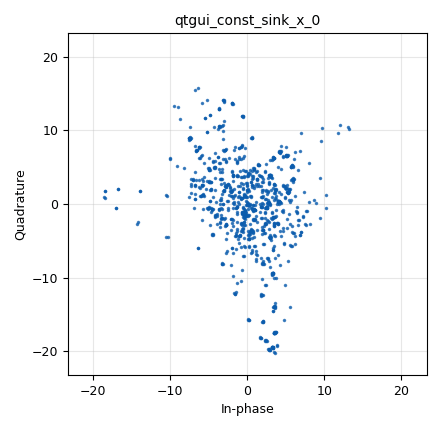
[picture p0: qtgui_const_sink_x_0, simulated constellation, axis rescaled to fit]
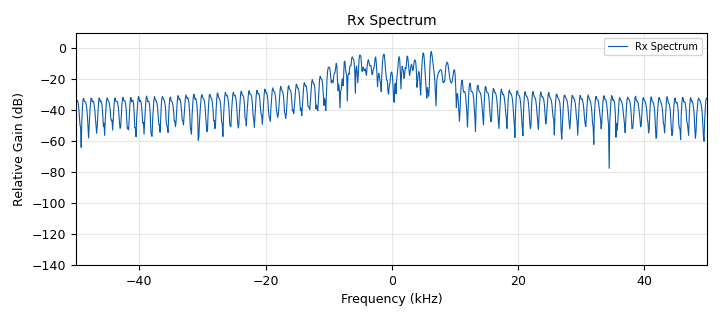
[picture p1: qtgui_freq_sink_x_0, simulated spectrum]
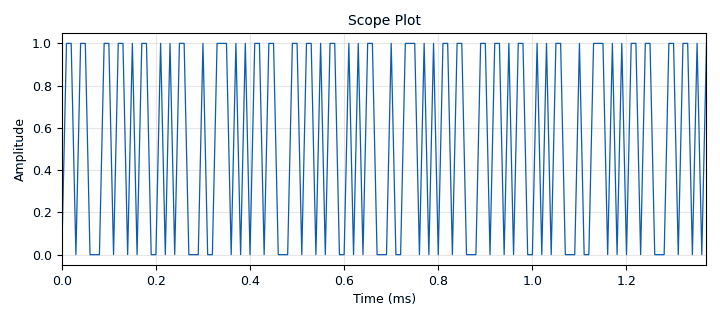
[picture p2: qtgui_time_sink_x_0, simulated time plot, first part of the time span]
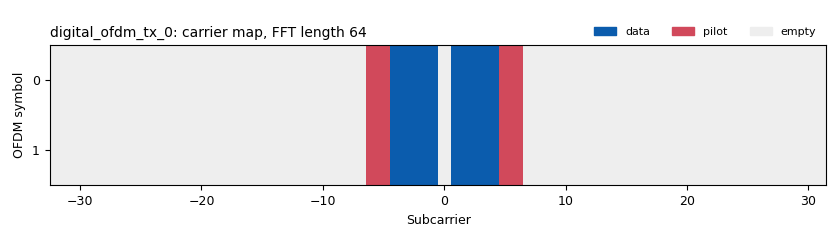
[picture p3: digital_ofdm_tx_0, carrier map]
options:
  parameters:
    category: Custom
    description: Transmit a pre-defined signal (a complex sine) as OFDM packets.
    generate_options: qt_gui
    id: ofdm_loopback_example
    output_language: python
    title: OFDM Loopback Example
  states: {}

blocks:
- name: fft_len
  id: variable
  parameters:
    value: '64'
  states: {}
- name: freq_offset
  id: variable_qtgui_range
  parameters:
    label: Frequency Offset (Multiples of Sub-carrier spacing)
    start: '-3'
    step: '.01'
    stop: '3'
    value: '0'
  states: {}
- name: len_tag_key
  id: variable
  parameters:
    value: '"packet_len"'
  states: {}
- name: noise_voltage
  id: variable_qtgui_range
  parameters:
    label: Noise Amplitude
    start: '0'
    step: '.01'
    stop: '1'
    value: '0.1'
  states: {}
- name: packet_len
  id: variable
  parameters:
    value: '50'
  states: {}
- name: samp_rate
  id: variable
  parameters:
    value: '100000'
  states: {}
- name: blocks_file_sink_0
  id: blocks_file_sink
  parameters:
    file: rx.txt
    type: byte
    unbuffered: 'True'
  states: {}
- name: blocks_pack_k_bits_bb_0
  id: blocks_pack_k_bits_bb
  parameters:
    k: '8'
  states: {}
- name: blocks_stream_to_tagged_stream_0
  id: blocks_stream_to_tagged_stream
  parameters:
    len_tag_key: len_tag_key
    packet_len: packet_len
    type: byte
  states: {}
- name: blocks_tag_debug_0
  id: blocks_tag_debug
  parameters:
    display: 'False'
    name: Rx Packets
    type: byte
  states: {}
- name: blocks_throttle2_0
  id: blocks_throttle2
  parameters:
    samples_per_second: samp_rate
    type: complex
  states: {}
- name: blocks_uchar_to_float_0
  id: blocks_uchar_to_float
  parameters: {}
  states: {}
- name: blocks_vector_source_x_0
  id: blocks_vector_source_x
  parameters:
    repeat: 'True'
    tags: ()
    type: byte
    vector: (0, 1, 1, 0, 0, 0, 1, 0,  0, 1, 1, 1, 0, 1, 0, 1,  0, 1, 1, 0, 1, 1, 0, 0, 0, 1, 1, 0, 1, 1, 0, 1,  0, 1, 1, 0, 0, 1, 0, 1)
  states: {}
- name: channels_channel_model_0
  id: channels_channel_model
  parameters:
    block_tags: 'True'
    epsilon: '1.0'
    freq_offset: freq_offset * 1.0/fft_len
    noise_voltage: noise_voltage
    seed: '0'
    taps: 1.0 + 1.0j
  states: {}
- name: digital_ofdm_rx_0
  id: digital_ofdm_rx
  parameters:
    cp_len: fft_len//4
    fft_len: fft_len
    header_mod: '"BPSK"'
    occupied_carriers: ((-4,-3,-2,-1,1,2,3,4),)
    packet_len_key: '"rx_len"'
    payload_mod: '"QPSK"'
    pilot_carriers: ((-6,-5,5,6),)
    pilot_symbols: ((-1,1,-1,1),)
    sync_word1: None
    sync_word2: None
  states: {}
- name: digital_ofdm_tx_0
  id: digital_ofdm_tx
  parameters:
    cp_len: fft_len//4
    fft_len: fft_len
    header_mod: '"BPSK"'
    occupied_carriers: ((-4,-3,-2,-1,1,2,3,4),)
    packet_len_key: len_tag_key
    payload_mod: '"QPSK"'
    pilot_carriers: ((-6,-5,5,6),)
    pilot_symbols: ((-1,1,-1,1),)
    rolloff: '0'
    sync_word1: None
    sync_word2: None
  states: {}
- name: qtgui_const_sink_x_0
  id: qtgui_const_sink_x
  parameters:
    size: '1024'
    type: complex
  states: {}
- name: qtgui_freq_sink_x_0
  id: qtgui_freq_sink_x
  parameters:
    bw: samp_rate
    fc: '0'
    fftsize: '1024'
    label1: Rx Spectrum
    name: Rx Spectrum
    showports: 'True'
    type: complex
  states: {}
- name: qtgui_time_sink_x_0
  id: qtgui_time_sink_x
  parameters:
    autoscale: 'True'
    label1: ''
    name: Scope Plot
    size: '1024'
    srate: samp_rate
    type: float
  states: {}

connections:
- [blocks_pack_k_bits_bb_0, '0', blocks_file_sink_0, '0']
- [blocks_stream_to_tagged_stream_0, '0', digital_ofdm_tx_0, '0']
- [blocks_throttle2_0, '0', digital_ofdm_rx_0, '0']
- [blocks_throttle2_0, '0', qtgui_const_sink_x_0, '0']
- [blocks_throttle2_0, '0', qtgui_freq_sink_x_0, '0']
- [blocks_uchar_to_float_0, '0', qtgui_time_sink_x_0, '0']
- [blocks_vector_source_x_0, '0', blocks_stream_to_tagged_stream_0, '0']
- [channels_channel_model_0, '0', blocks_throttle2_0, '0']
- [digital_ofdm_rx_0, '0', blocks_pack_k_bits_bb_0, '0']
- [digital_ofdm_rx_0, '0', blocks_tag_debug_0, '0']
- [digital_ofdm_rx_0, '0', blocks_uchar_to_float_0, '0']
- [digital_ofdm_tx_0, '0', channels_channel_model_0, '0']

metadata:
  file_format: 1
  grc_version: 3.10.7.0
